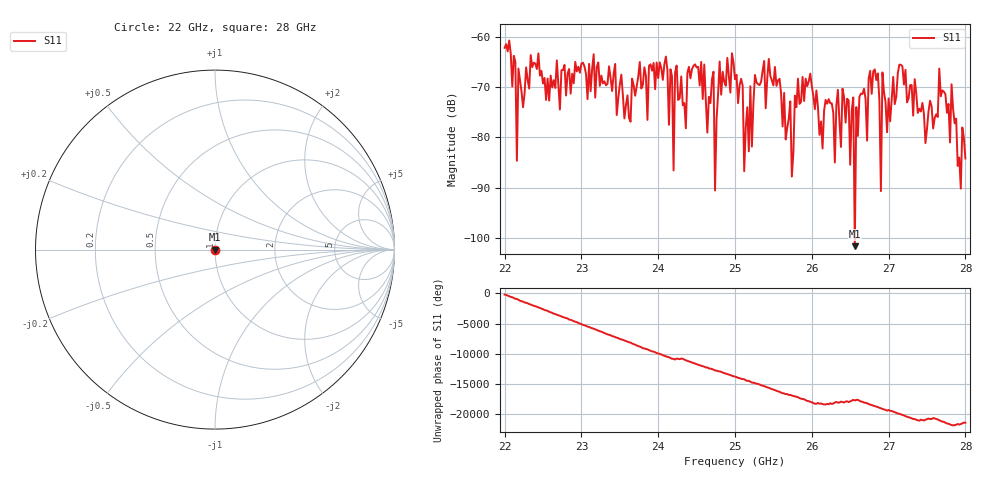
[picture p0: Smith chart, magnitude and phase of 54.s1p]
#  HZ  S  RI  R  50.00
! Rohde & Schwarz ZVA40 4Ports - Version 3.90 - 1145.1110k42 SN: 100403
! Date: 2023-10-04 09:03:15
! Measurement: S12
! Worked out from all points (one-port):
!   301 points, 22 GHz to 28 GHz, reference 50 ohm
!   lowest |S11| = -101.7 dB at 26.56 GHz (marker M1), VSWR 1.00, Z = 50 - j0.000546 ohm
!   |S11| at or under -10 dB: start of sweep to end of sweep
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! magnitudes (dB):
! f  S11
! 22 GHz  -62.1
! 22.14 GHz  -64.9
! 22.16 GHz  -84.7
! 22.18 GHz  -66.3
! 22.76 GHz  -66.6
! 23.5 GHz  -69.5
! 24.26 GHz  -72.5
! 24.6 GHz  -65.5
! 24.64 GHz  -79.1
! 24.72 GHz  -66.9
! 24.74 GHz  -90.6
! 24.8 GHz  -64.9
! 25 GHz  -68.4
! 25.22 GHz  -81.8
! 25.44 GHz  -64.3
! 25.76 GHz  -83.0
! 25.98 GHz  -67.3
! 26.5 GHz  -85.5
! 26.56 GHz  -101.7
! 26.72 GHz  -80.6
! 26.76 GHz  -66.7
! 26.9 GHz  -90.7
! 26.92 GHz  -67.0
! 26.98 GHz  -79.0
! 27.26 GHz  -72.3
! 27.48 GHz  -81.1
! 27.66 GHz  -66.3
! 28 GHz  -84.2
